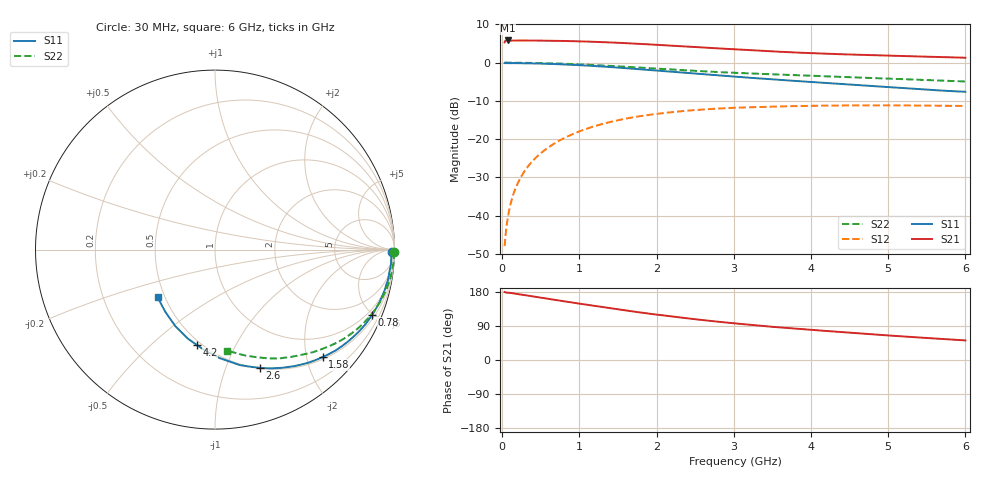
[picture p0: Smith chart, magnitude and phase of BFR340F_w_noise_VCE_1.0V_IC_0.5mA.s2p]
! Infineon Technologies  Discrete & RF Semiconductors
! BFR340F
! VCE =  1.0 V,  IC =  0.5 mA
! Common Emitter S-Parameters:  Nov 2015
# GHz  S  MA  R  50
!  f  S11  S21  S12  S22
! GHz  MAG  ANG  MAG  ANG  MAG  ANG  MAG  ANG
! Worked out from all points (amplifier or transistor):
!   206 points, 30 MHz to 6 GHz, reference 50 ohm
!   highest |S21| = 5.8 dB at 70 MHz (marker M1)
!   |S21| within 3 dB of that: start of sweep to 3.644 GHz
!   unconditionally stable (mu >= 1): nowhere
!   at 200 MHz: K = 0.03, MSG = 18.7 dB, |S12| = -31.5 dB
!   at 1.56 GHz: K = 0.30, MSG = 10.0 dB, |S12| = -14.8 dB
!   at 6 GHz: K = 0.94, MSG = 6.3 dB, |S12| = -11.3 dB
!   lowest NFmin = 0.60 dB at 450 MHz
!   S11 on the Smith chart (normalised r, x): 30 MHz: 64, -67; 780 MHz: 0.69, -4.91; 1.58 GHz: 0.54, -2.31; 2.6 GHz: 0.50, -1.32; 4.2 GHz: 0.47, -0.71; 6 GHz: 0.46, -0.29
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0.03  0.9851 -0.9  1.837 179.4  0.004 89.1  0.9988 -0.7
0.04  0.9838 -1.2  1.936 178.7  0.0053 89.1  0.9986 -0.9
0.055  0.985 -1.5  1.93 177.9  0.0073 88.5  0.9985 -1.2
0.07  0.9834 -2.1  1.945 177.6  0.0092 87.7  0.9989 -1.6
0.1  0.983 -3.0  1.929 177.0  0.0134 87.7  0.9984 -2.2
0.15  0.9848 -4.4  1.938 175.4  0.02 86.7  0.9975 -3.3
0.22  0.9808 -6.4  1.943 173.4  0.0291 85.2  0.996 -4.8
0.3  0.9794 -8.7  1.941 170.8  0.0397 83.7  0.9939 -6.6
0.5  0.9696 -14.5  1.935 164.6  0.0657 79.5  0.9857 -10.9
0.78  0.9477 -22.6  1.917 155.6  0.1007 73.5  0.9674 -17.0
1.04  0.921 -30.0  1.891 147.5  0.1308 68.1  0.944 -22.4
1.24  0.8962 -35.6  1.861 141.3  0.1522 64.1  0.923 -26.5
1.58  0.848 -44.9  1.799 131.2  0.1836 57.5  0.8837 -32.9
2.02  0.785 -55.8  1.702 119.2  0.2151 50.2  0.8322 -40.4
2.38  0.734 -64.3  1.624 110.3  0.2346 45.1  0.7932 -45.9
2.6  0.7045 -69.3  1.575 105.3  0.244 42.3  0.7703 -49.0
3.1  0.6454 -79.8  1.471 95.0  0.2587 36.9  0.7288 -55.3
3.5  0.6048 -87.6  1.4 87.5  0.2667 33.3  0.7028 -59.7
4.1  0.5496 -98.8  1.316 78.1  0.2733 29.7  0.6677 -64.9
4.2  0.5409 -100.8  1.304 76.6  0.274 29.2  0.6615 -65.8
5.1  0.4713 -119.6  1.224 63.5  0.2763 25.2  0.6108 -74.5
6  0.4157 -140.2  1.157 51.7  0.2713 24.0  0.5662 -83.3
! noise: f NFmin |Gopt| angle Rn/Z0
0.45  0.6  0.91  5  1.13
0.9  0.64  0.87  13  1.13
1.9  1.21  0.74  27  0.92
2.4  1.31  0.7  36  0.86
